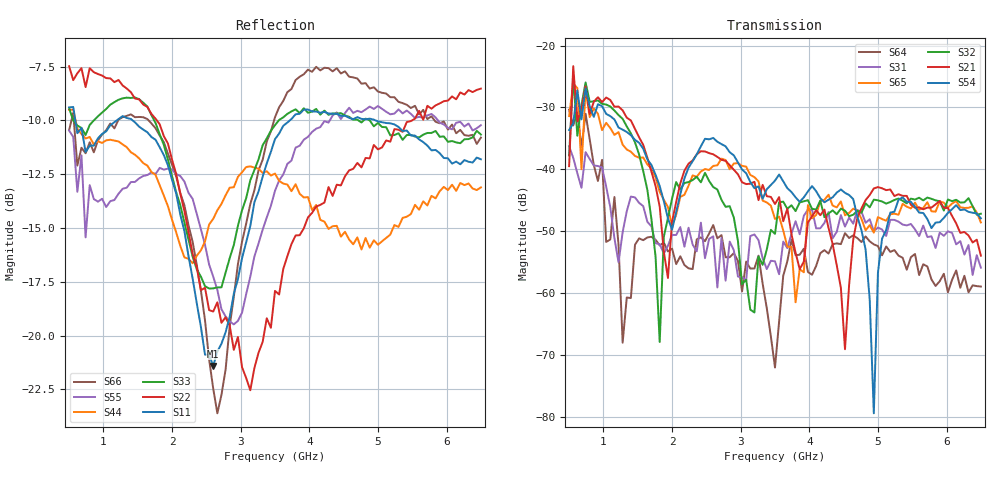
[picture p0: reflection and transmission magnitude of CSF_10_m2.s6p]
!Keysight Technologies,M9804A,MY58100912,A.14.10.03
!Date: Thursday, April 27, 2023 10:28:33
!Correction: S11(C  6-Port  )
!S12(C  6-Port  )
!S13(C  6-Port  )
!S14(C  6-Port  )
!S15(C  6-Port  )
!S16(C  6-Port  )
!S21(C  6-Port  )
!S22(C  6-Port  )
!S23(C  6-Port  )
!S24(C  6-Port  )
!S25(C  6-Port  )
!S26(C  6-Port  )
!S31(C  6-Port  )
!S32(C  6-Port  )
!S33(C  6-Port  )
!S34(C  6-Port  )
!S35(C  6-Port  )
!S36(C  6-Port  )
!S41(C  6-Port  )
!S42(C  6-Port  )
!S43(C  6-Port  )
!S44(C  6-Port  )
!S45(C  6-Port  )
!S46(C  6-Port  )
!S51(C  6-Port  )
!S52(C  6-Port  )
!S53(C  6-Port  )
!S54(C  6-Port  )
!S55(C  6-Port  )
!S56(C  6-Port  )
!S61(C  6-Port  )
!S62(C  6-Port  )
!S63(C  6-Port  )
!S64(C  6-Port  )
!S65(C  6-Port  )
!S66(C  6-Port  )
!S6P File: Measurement: :
# Hz S  RI  R 50
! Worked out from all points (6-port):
!   101 points, 500 MHz to 6.5 GHz, reference 50 ohm
!   strongest paths, dB at 500 MHz, 2 GHz, 3.5 GHz, 5 GHz, 6.5 GHz:
!     S54: -33.6, -49.7, -41.8, -56.7, -47.9
!     S21: -39.5, -48.4, -45.6, -42.8, -53.9
!     S32: -37.7, -44.7, -50.4, -45.0, -47.1
!     S65: -31.4, -49.1, -48.0, -47.7, -48.6
!     S31: -36.2, -50.6, -54.8, -49.4, -55.8
!     S64: -30.4, -52.8, -72.0, -52.4, -58.9
!   lowest |S11| = -21.4 dB at 2.6 GHz (marker M1), VSWR 1.19, Z = 42.4 + j2.2 ohm
!   |S11| at or under -10 dB: 590.9 MHz to 1.193 GHz (602.4 MHz wide, 67.5 % of centre); 1.427 GHz to 3.715 GHz (2.288 GHz wide, 89 % of centre); 4.968 GHz to end of sweep
